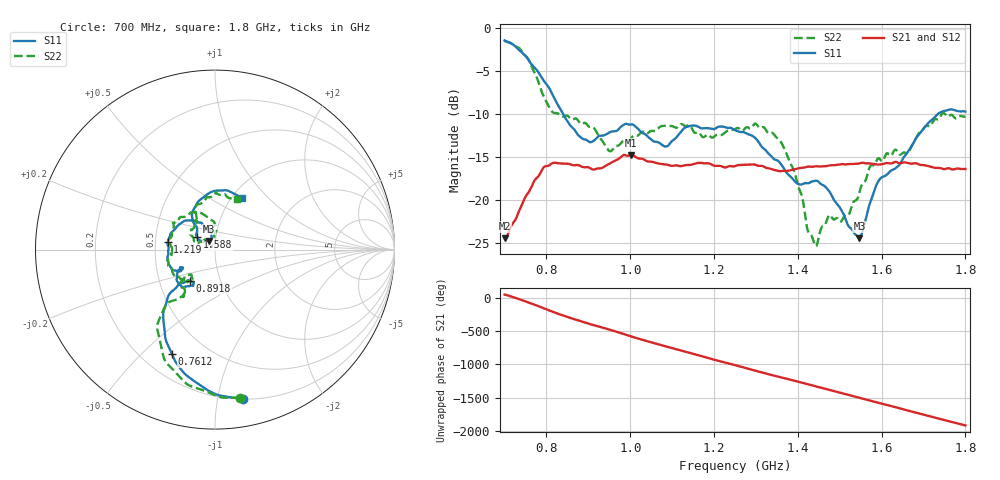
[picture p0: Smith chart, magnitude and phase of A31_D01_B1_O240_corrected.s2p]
! Created with skrf 1.9.0 (http://scikit-rf.org).
# Hz S RI R 50.0
!freq ReS11 ImS11 ReS21 ImS21 ReS12 ImS12 ReS22 ImS22
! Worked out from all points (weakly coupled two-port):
!   1601 points, 700 MHz to 1.8 GHz, reference 50 ohm
!   highest |S21| = -14.77 dB at 1.002 GHz (marker M1); lowest = -24.4 dB at 700.7 MHz (marker M2)
!   lowest |S11| = -24.5 dB at 1.547 GHz (marker M3), VSWR 1.13, Z = 46.4 + j4.52 ohm
!   |S11| at or under -10 dB: 839.6 MHz to 1.734 GHz (894.8 MHz wide, 69.5 % of centre)
!   |S22| runs from -25.4 to -1.5 dB; largest |S21 - S12| = 0.0037
!   S11 on the Smith chart (normalised r, x): 700 MHz: 0.20, -1.19; 761.2 MHz: 0.32, -0.62; 891.8 MHz: 0.71, -0.26; 1.219 GHz: 0.58, +0.05; 1.588 GHz: 0.81, +0.11; 1.8 GHz: 1.11, +0.72
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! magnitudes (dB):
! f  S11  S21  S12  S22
! 700 MHz  -1.4  -24.4  -24.2  -1.5
! 700.7 MHz  -1.5  -24.4  -24.1  -1.5
! 761.2 MHz  -4.0  -18.8  -18.7  -4.1
! 812.1 MHz  -7.5  -15.8  -15.7  -9.7
! 883.6 MHz  -12.8  -16.1  -16.0  -11.2
! 891.8 MHz  -13.0  -16.2  -16.2  -11.0
! 950.9 MHz  -12.1  -15.8  -15.8  -14.3
! 1.002 GHz  -11.2  -14.8  -14.9  -12.8
! 1.067 GHz  -13.3  -15.8  -15.7  -11.6
! 1.219 GHz  -11.5  -16.1  -16.1  -12.4
! 1.25 GHz  -11.9  -16.1  -16.0  -11.8
! 1.359 GHz  -15.8  -16.7  -16.6  -13.2
! 1.392 GHz  -17.8  -16.4  -16.4  -16.7
! 1.434 GHz  -17.9  -16.1  -16.1  -24.2
! 1.471 GHz  -18.8  -16.0  -16.0  -22.1
! 1.52 GHz  -22.9  -15.8  -15.9  -21.8
! 1.547 GHz  -24.5  -15.8  -15.7  -19.1
! 1.588 GHz  -18.3  -15.9  -15.9  -15.5
! 1.617 GHz  -16.8  -15.7  -15.7  -14.7
! 1.663 GHz  -14.4  -15.7  -15.7  -14.6
! 1.735 GHz  -10.0  -16.3  -16.3  -10.6
! 1.8 GHz  -9.7  -16.4  -16.4  -10.3
